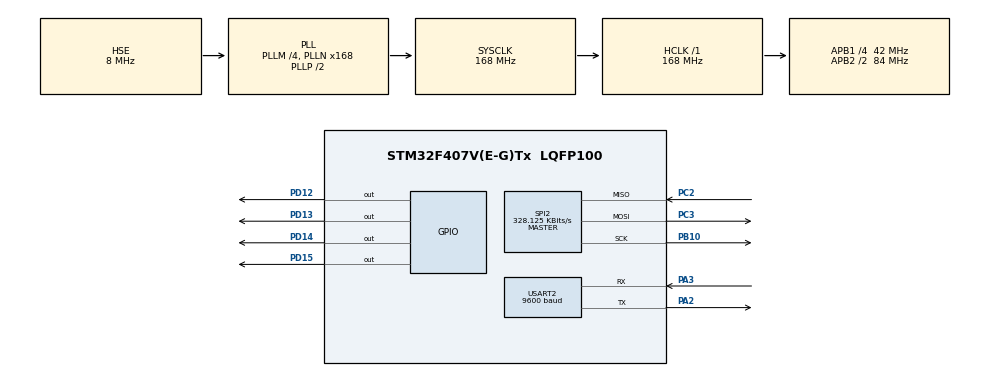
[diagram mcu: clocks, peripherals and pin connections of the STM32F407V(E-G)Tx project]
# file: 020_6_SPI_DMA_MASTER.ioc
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Dma.Request0=SPI2_RX
Dma.Request1=SPI2_TX
Dma.SPI2_RX.0.Direction=DMA_PERIPH_TO_MEMORY
Dma.SPI2_RX.0.FIFOMode=DMA_FIFOMODE_DISABLE
Dma.SPI2_RX.0.Instance=DMA1_Stream3
Dma.SPI2_RX.0.MemDataAlignment=DMA_MDATAALIGN_BYTE
Dma.SPI2_RX.0.MemInc=DMA_MINC_ENABLE
Dma.SPI2_RX.0.Mode=DMA_NORMAL
Dma.SPI2_RX.0.PeriphDataAlignment=DMA_PDATAALIGN_BYTE
Dma.SPI2_RX.0.PeriphInc=DMA_PINC_DISABLE
Dma.SPI2_RX.0.Priority=DMA_PRIORITY_LOW
Dma.SPI2_TX.1.Direction=DMA_MEMORY_TO_PERIPH
Dma.SPI2_TX.1.FIFOMode=DMA_FIFOMODE_DISABLE
Dma.SPI2_TX.1.Instance=DMA1_Stream4
Dma.SPI2_TX.1.MemDataAlignment=DMA_MDATAALIGN_BYTE
Dma.SPI2_TX.1.MemInc=DMA_MINC_ENABLE
Dma.SPI2_TX.1.Mode=DMA_NORMAL
Dma.SPI2_TX.1.PeriphDataAlignment=DMA_PDATAALIGN_BYTE
Dma.SPI2_TX.1.PeriphInc=DMA_PINC_DISABLE
Dma.SPI2_TX.1.Priority=DMA_PRIORITY_LOW
Mcu.Family=STM32F4
Mcu.Name=STM32F407V(E-G)Tx
Mcu.Package=LQFP100
NVIC.DMA1_Stream3_IRQn=true\:2\:0\:true\:false\:true\:false\:true
NVIC.DMA1_Stream4_IRQn=true\:3\:0\:true\:false\:true\:false\:true
NVIC.PriorityGroup=NVIC_PRIORITYGROUP_4
NVIC.SPI2_IRQn=true\:1\:0\:true\:false\:true\:true\:true
NVIC.USART2_IRQn=true\:0\:0\:false\:false\:true\:true\:true
PA13.Mode=Serial_Wire
PA13.Signal=SYS_JTMS-SWDIO
PA14.Mode=Serial_Wire
PA14.Signal=SYS_JTCK-SWCLK
PA2.Mode=Asynchronous
PA2.Signal=USART2_TX
PA3.Mode=Asynchronous
PA3.Signal=USART2_RX
PB10.Mode=Full_Duplex_Master
PB10.Signal=SPI2_SCK
PC2.Mode=Full_Duplex_Master
PC2.Signal=SPI2_MISO
PC3.Mode=Full_Duplex_Master
PC3.Signal=SPI2_MOSI
PD12.Signal=GPIO_Output
PD13.Signal=GPIO_Output
PD14.Signal=GPIO_Output
PD15.Signal=GPIO_Output
PH0-OSC_IN.Mode=HSE-External-Oscillator
PH0-OSC_IN.Signal=RCC_OSC_IN
PH1-OSC_OUT.Mode=HSE-External-Oscillator
PH1-OSC_OUT.Signal=RCC_OSC_OUT
ProjectManager.HeapSize=0x200
ProjectManager.StackSize=0x400
ProjectManager.TargetToolchain=STM32CubeIDE
RCC.48MHZClocksFreq_Value=84000000
RCC.AHBFreq_Value=168000000
RCC.APB1CLKDivider=RCC_HCLK_DIV4
RCC.APB1Freq_Value=42000000
RCC.APB1TimFreq_Value=84000000
RCC.APB2CLKDivider=RCC_HCLK_DIV2
RCC.APB2Freq_Value=84000000
RCC.APB2TimFreq_Value=168000000
RCC.CortexFreq_Value=168000000
RCC.HCLKFreq_Value=168000000
RCC.HSE_VALUE=8000000
RCC.HSI_VALUE=16000000
RCC.LSE_VALUE=32768
RCC.PLLM=4
RCC.PLLN=168
RCC.PLLSourceVirtual=RCC_PLLSOURCE_HSE
RCC.SYSCLKFreq_VALUE=168000000
RCC.SYSCLKSource=RCC_SYSCLKSOURCE_PLLCLK
RCC.VCOOutputFreq_Value=336000000
SPI2.BaudRatePrescaler=SPI_BAUDRATEPRESCALER_128
SPI2.CLKPolarity=SPI_POLARITY_HIGH
SPI2.CalculateBaudRate=328.125 KBits/s
SPI2.Direction=SPI_DIRECTION_2LINES
SPI2.Mode=SPI_MODE_MASTER
SPI2.VirtualType=VM_MASTER
USART2.BaudRate=9600
USART2.VirtualMode=VM_ASYNC
board=custom

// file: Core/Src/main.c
/* USER CODE BEGIN Header */
/**
  ******************************************************************************
  * @file           : main.c
  * @brief          : Main program body
  ******************************************************************************
  * @attention
  *
  * <h2><center>&copy; Copyright (c) 2021 STMicroelectronics.
  * All rights reserved.</center></h2>
  *
  * This software component is licensed by ST under BSD 3-Clause license,
  * the "License"; You may not use this file except in compliance with the
  * License. You may obtain a copy of the License at:
  *                        opensource.org/licenses/BSD-3-Clause
  *
  ******************************************************************************
  */
/* USER CODE END Header */
#include "main.h"

SPI_HandleTypeDef hspi2;
DMA_HandleTypeDef hdma_spi2_rx;
DMA_HandleTypeDef hdma_spi2_tx;

UART_HandleTypeDef huart2;

/* USER CODE BEGIN PV */

uint8_t  uartTxBuffer[] = "\r\n SLAVE SPI - DMA MODDA IKI KART HABERLESMESI \r\n ";
 uint8_t  aTxBuffer[] = "SPI SLAVE'DEN CEVAP: SLAVE' DEN MESAJ ALINDI";
uint8_t  aRxBuffer[43]= {0};

/* USER CODE END PV */

void SystemClock_Config(void);
static void MX_GPIO_Init(void);
static void MX_DMA_Init(void);
static void MX_SPI2_Init(void);
static void MX_USART2_UART_Init(void);

int main(void)
{

  /* MCU Configuration--------------------------------------------------------*/

  /* Reset of all peripherals, Initializes the Flash interface and the Systick. */
  HAL_Init();

  /* Configure the system clock */
  SystemClock_Config();

  /* Initialize all configured peripherals */
  MX_GPIO_Init();
  MX_DMA_Init();
  MX_SPI2_Init();
  MX_USART2_UART_Init();
  /* USER CODE BEGIN 2 */

  if(HAL_UART_Transmit(&huart2, (uint8_t*)uartTxBuffer, 55, 5000) != HAL_OK)
  {
 	 Error_Handler();
  }

   for(volatile uint8_t i=0; i<16;i++)
   {
 	  HAL_GPIO_TogglePin(GPIOD, GPIO_PIN_12);
 	  HAL_GPIO_TogglePin(GPIOD, GPIO_PIN_13);
 	  HAL_Delay(100);

   }
   HAL_GPIO_WritePin(GPIOD, GPIO_PIN_12, RESET);
   HAL_GPIO_WritePin(GPIOD, GPIO_PIN_13 , RESET);

   __HAL_SPI_ENABLE(&hspi2);

   while(HAL_SPI_TransmitReceive_DMA(&hspi2, (uint8_t *)aTxBuffer, (uint8_t *)aRxBuffer, 43) != HAL_OK)
   {
 	  Error_Handler();
   }
   while (HAL_SPI_GetState(&hspi2) != HAL_SPI_STATE_READY);

  /* USER CODE END 2 */

  /* Infinite loop */
  while (1)
  {

    /* USER CODE BEGIN 3 */
	  HAL_UART_Transmit(&huart2, (uint8_t*)aRxBuffer, 43, 5000);
  }
  /* USER CODE END 3 */
}

void SystemClock_Config(void)
{
  RCC_OscInitTypeDef RCC_OscInitStruct = {0};
  RCC_ClkInitTypeDef RCC_ClkInitStruct = {0};

  /** Configure the main internal regulator output voltage
  */
  __HAL_RCC_PWR_CLK_ENABLE();
  __HAL_PWR_VOLTAGESCALING_CONFIG(PWR_REGULATOR_VOLTAGE_SCALE1);
  /** Initializes the RCC Oscillators according to the specified parameters
  * in the RCC_OscInitTypeDef structure.
  */
  RCC_OscInitStruct.OscillatorType = RCC_OSCILLATORTYPE_HSE;
  RCC_OscInitStruct.HSEState = RCC_HSE_ON;
  RCC_OscInitStruct.PLL.PLLState = RCC_PLL_ON;
  RCC_OscInitStruct.PLL.PLLSource = RCC_PLLSOURCE_HSE;
  RCC_OscInitStruct.PLL.PLLM = 4;
  RCC_OscInitStruct.PLL.PLLN = 168;
  RCC_OscInitStruct.PLL.PLLP = RCC_PLLP_DIV2;
  RCC_OscInitStruct.PLL.PLLQ = 4;
  if (HAL_RCC_OscConfig(&RCC_OscInitStruct) != HAL_OK)
  {
    Error_Handler();
  }
  /** Initializes the CPU, AHB and APB buses clocks
  */
  RCC_ClkInitStruct.ClockType = RCC_CLOCKTYPE_HCLK|RCC_CLOCKTYPE_SYSCLK
                              |RCC_CLOCKTYPE_PCLK1|RCC_CLOCKTYPE_PCLK2;
  RCC_ClkInitStruct.SYSCLKSource = RCC_SYSCLKSOURCE_PLLCLK;
  RCC_ClkInitStruct.AHBCLKDivider = RCC_SYSCLK_DIV1;
  RCC_ClkInitStruct.APB1CLKDivider = RCC_HCLK_DIV4;
  RCC_ClkInitStruct.APB2CLKDivider = RCC_HCLK_DIV2;

  if (HAL_RCC_ClockConfig(&RCC_ClkInitStruct, FLASH_LATENCY_5) != HAL_OK)
  {
    Error_Handler();
  }
}

static void MX_SPI2_Init(void)
{

  /* SPI2 parameter configuration*/
  hspi2.Instance = SPI2;
  hspi2.Init.Mode = SPI_MODE_MASTER;
  hspi2.Init.Direction = SPI_DIRECTION_2LINES;
  hspi2.Init.DataSize = SPI_DATASIZE_8BIT;
  hspi2.Init.CLKPolarity = SPI_POLARITY_HIGH;
  hspi2.Init.CLKPhase = SPI_PHASE_1EDGE;
  hspi2.Init.NSS = SPI_NSS_SOFT;
  hspi2.Init.BaudRatePrescaler = SPI_BAUDRATEPRESCALER_128;
  hspi2.Init.FirstBit = SPI_FIRSTBIT_MSB;
  hspi2.Init.TIMode = SPI_TIMODE_DISABLE;
  hspi2.Init.CRCCalculation = SPI_CRCCALCULATION_DISABLE;
  hspi2.Init.CRCPolynomial = 10;
  if (HAL_SPI_Init(&hspi2) != HAL_OK)
  {
    Error_Handler();
  }

}

static void MX_USART2_UART_Init(void)
{

  huart2.Instance = USART2;
  huart2.Init.BaudRate = 9600;
  huart2.Init.WordLength = UART_WORDLENGTH_8B;
  huart2.Init.StopBits = UART_STOPBITS_1;
  huart2.Init.Parity = UART_PARITY_NONE;
  huart2.Init.Mode = UART_MODE_TX_RX;
  huart2.Init.HwFlowCtl = UART_HWCONTROL_NONE;
  huart2.Init.OverSampling = UART_OVERSAMPLING_16;
  if (HAL_UART_Init(&huart2) != HAL_OK)
  {
    Error_Handler();
  }

}

static void MX_DMA_Init(void)
{

  /* DMA controller clock enable */
  __HAL_RCC_DMA1_CLK_ENABLE();

  /* DMA interrupt init */
  /* DMA1_Stream3_IRQn interrupt configuration */
  HAL_NVIC_SetPriority(DMA1_Stream3_IRQn, 2, 0);
  HAL_NVIC_EnableIRQ(DMA1_Stream3_IRQn);
  /* DMA1_Stream4_IRQn interrupt configuration */
  HAL_NVIC_SetPriority(DMA1_Stream4_IRQn, 3, 0);
  HAL_NVIC_EnableIRQ(DMA1_Stream4_IRQn);

}

static void MX_GPIO_Init(void)
{
  GPIO_InitTypeDef GPIO_InitStruct = {0};

  /* GPIO Ports Clock Enable */
  __HAL_RCC_GPIOH_CLK_ENABLE();
  __HAL_RCC_GPIOC_CLK_ENABLE();
  __HAL_RCC_GPIOA_CLK_ENABLE();
  __HAL_RCC_GPIOB_CLK_ENABLE();
  __HAL_RCC_GPIOD_CLK_ENABLE();

  /*Configure GPIO pin Output Level */
  HAL_GPIO_WritePin(GPIOD, GPIO_PIN_12|GPIO_PIN_13|GPIO_PIN_14|GPIO_PIN_15, GPIO_PIN_RESET);

  /*Configure GPIO pins : PD12 PD13 PD14 PD15 */
  GPIO_InitStruct.Pin = GPIO_PIN_12|GPIO_PIN_13|GPIO_PIN_14|GPIO_PIN_15;
  GPIO_InitStruct.Mode = GPIO_MODE_OUTPUT_PP;
  GPIO_InitStruct.Pull = GPIO_NOPULL;
  GPIO_InitStruct.Speed = GPIO_SPEED_FREQ_LOW;
  HAL_GPIO_Init(GPIOD, &GPIO_InitStruct);

}

/* USER CODE BEGIN 4 */

void HAL_SPI_TxRxCpltCallback(SPI_HandleTypeDef *hspi)
{

	if(HAL_SPI_TransmitReceive_DMA(&hspi2, (uint8_t *)aTxBuffer, (uint8_t *)aRxBuffer, 43) != HAL_OK)
    {
	  Error_Handler();
    }
	HAL_GPIO_WritePin(GPIOD, GPIO_PIN_12, SET);
    HAL_GPIO_WritePin(GPIOD, GPIO_PIN_13, SET);
	HAL_GPIO_WritePin(GPIOD, GPIO_PIN_14, SET);
    HAL_GPIO_WritePin(GPIOD, GPIO_PIN_15, SET);
    while(HAL_UART_GetState(&huart2) != HAL_UART_STATE_READY);
    if(HAL_UART_Transmit(&huart2, (uint8_t*)aRxBuffer, 55, 5000) != HAL_OK)
    {
  	  Error_Handler();
    }

}

void HAL_SPI_ErrorCallback(SPI_HandleTypeDef *hspi)
{
	HAL_GPIO_WritePin(GPIOD, GPIO_PIN_12, RESET);
    HAL_GPIO_WritePin(GPIOD, GPIO_PIN_13, RESET);
	HAL_GPIO_WritePin(GPIOD, GPIO_PIN_14, RESET);
    HAL_GPIO_WritePin(GPIOD, GPIO_PIN_15, RESET);
}

/* USER CODE END 4 */

void Error_Handler(void)
{
  /* USER CODE BEGIN Error_Handler_Debug */

	HAL_GPIO_WritePin(GPIOD, GPIO_PIN_12, RESET);
    HAL_GPIO_WritePin(GPIOD, GPIO_PIN_13, RESET);
	HAL_GPIO_WritePin(GPIOD, GPIO_PIN_14, RESET);
    HAL_GPIO_WritePin(GPIOD, GPIO_PIN_15, RESET);
  /* User can add his own implementation to report the HAL error return state */
  __disable_irq();
  while (1)
  {
  }
  /* USER CODE END Error_Handler_Debug */
}

/************************ (C) COPYRIGHT STMicroelectronics *****END OF FILE****/
